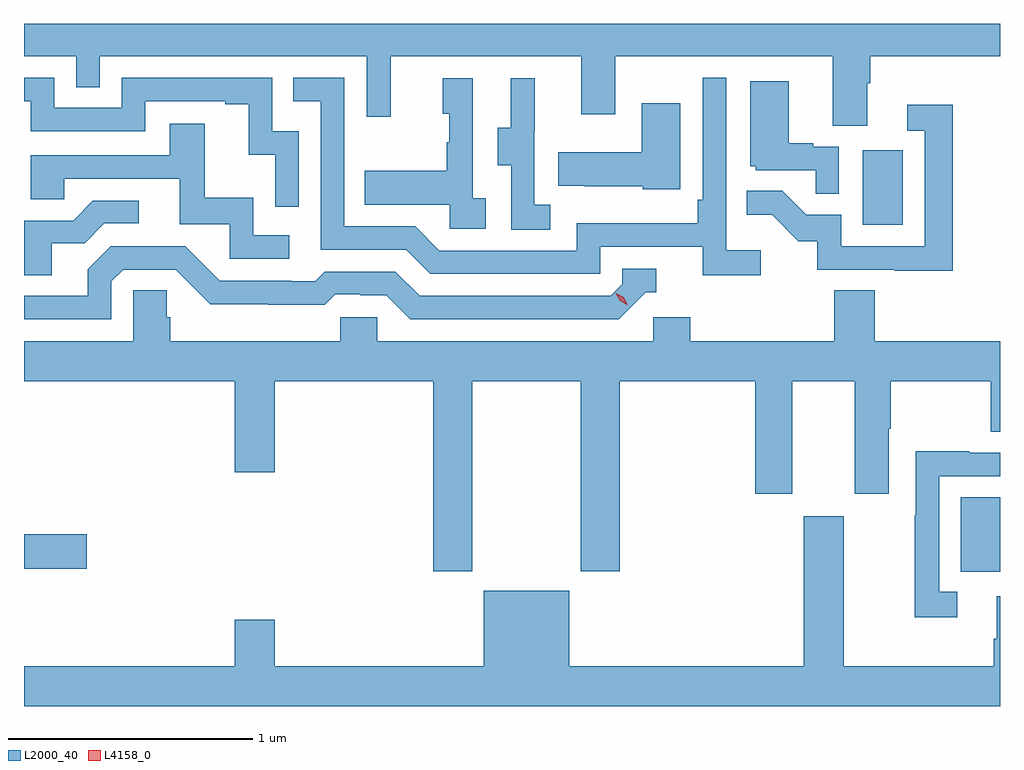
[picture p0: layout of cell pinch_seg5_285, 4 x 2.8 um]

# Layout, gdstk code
import gdstk
lib = gdstk.Library(unit=1e-6, precision=1e-09)
def R(c, l, rs):  # rectangles x0, y0, x1, y1
    for r in rs: c.add(gdstk.rectangle(r[:2], r[2:], *l))
def P(c, l, *ps):  # polygons
    for p in ps: c.add(gdstk.Polygon(p, *l))
L2000_40 = (2000, 40)
L4158_0 = (4158, 0)

pinch_seg5_285 = lib.new_cell('pinch_seg5_285')
R(pinch_seg5_285, L2000_40, [(947.204,913.254,947.364,913.561), (943.364,913.267,943.621,913.409), (946.802,914.676,946.966,914.983)])
P(pinch_seg5_285, L2000_40, [(946.819,915.256),(946.832,915.256),(946.832,915.368),(947.364,915.368),(947.364,915.5),(943.364,915.5),(943.364,915.368),(943.578,915.368),(943.578,915.241),(943.674,915.241),(943.674,915.368),(944.769,915.368),(944.769,915.12),(944.867,915.12),(944.867,915.368),(945.647,915.368),(945.647,915.129),(945.787,915.129),(945.787,915.368),(946.679,915.368),(946.679,915.082),(946.819,915.082)],
  [(946.384,914.572),(946.242,914.572),(946.242,915.28),(946.146,915.28),(946.146,914.779),(946.126,914.779),(946.126,914.683),(945.63,914.683),(945.63,914.571),(945.066,914.571),(944.967,914.67),(944.676,914.67),(944.676,915.279),(944.467,915.279),(944.467,915.183),(944.58,915.183),(944.58,914.574),(944.93,914.574),(945.029,914.475),(945.726,914.475),(945.726,914.586),(946.145,914.586),(946.145,914.47),(946.384,914.47)],
  [(944.49,915.06),(944.382,915.06),(944.382,915.279),(943.764,915.279),(943.764,915.156),(943.488,915.156),(943.488,915.279),(943.364,915.279),(943.364,915.183),(943.392,915.183),(943.392,915.06),(943.86,915.06),(943.86,915.183),(944.189,915.183),(944.189,915.171),(944.285,915.171),(944.285,914.963),(944.394,914.963),(944.394,914.751),(944.49,914.751)],
  [(945.52,914.759),(945.456,914.759),(945.456,915.063),(945.458,915.063),(945.458,915.277),(945.359,915.277),(945.359,915.075),(945.305,915.075),(945.305,914.92),(945.36,914.92),(945.36,914.656),(945.52,914.656)],
  [(945.256,914.786),(945.204,914.786),(945.204,915.277),(945.08,915.277),(945.08,915.132),(945.106,915.132),(945.106,915.014),(945.096,915.014),(945.096,914.899),(944.761,914.899),(944.761,914.759),(945.108,914.759),(945.108,914.661),(945.256,914.661)],
  [(946.704,914.997),(946.598,914.997),(946.598,915.01),(946.498,915.01),(946.498,915.265),(946.34,915.265),(946.34,914.916),(946.362,914.916),(946.362,914.901),(946.609,914.901),(946.609,914.803),(946.704,914.803)],
  [(946.054,915.175),(945.896,915.175),(945.896,914.974),(945.553,914.974),(945.553,914.837),(945.661,914.837),(945.661,914.834),(945.9,914.834),(945.9,914.822),(946.054,914.822)],
  [(947.171,915.169),(946.983,915.169),(946.983,915.063),(947.055,915.063),(947.055,914.589),(946.713,914.589),(946.713,914.718),(946.569,914.718),(946.471,914.816),(946.327,914.816),(946.327,914.717),(946.431,914.717),(946.538,914.61),(946.615,914.61),(946.615,914.493),(946.933,914.493),(946.933,914.488),(947.171,914.488)],
  [(944.452,914.634),(944.304,914.634),(944.304,914.788),(944.105,914.788),(944.105,915.091),(943.961,915.091),(943.961,914.961),(943.392,914.961),(943.392,914.781),(943.529,914.781),(943.529,914.865),(944.003,914.865),(944.003,914.679),(944.208,914.679),(944.208,914.538),(944.452,914.538)],
  [(943.477,914.602),(943.612,914.602),(943.692,914.682),(943.834,914.682),(943.834,914.775),(943.646,914.775),(943.565,914.694),(943.364,914.694),(943.364,914.47),(943.477,914.47)],
  [(943.722,914.445),(943.77,914.493),(943.986,914.493),(944.128,914.351),(944.364,914.351),(944.364,914.349),(944.597,914.349),(944.639,914.391),(944.742,914.391),(944.742,914.388),(944.849,914.388),(944.948,914.289),(945.801,914.289),(945.912,914.4),(945.955,914.4),(945.955,914.496),(945.816,914.496),(945.816,914.433),(945.768,914.385),(944.985,914.385),(944.886,914.484),(944.597,914.484),(944.558,914.445),(944.459,914.445),(944.459,914.448),(944.166,914.448),(944.025,914.589),(943.719,914.589),(943.625,914.495),(943.625,914.385),(943.364,914.385),(943.364,914.289),(943.722,914.289)],
  [(945.201,914.036),(945.646,914.036),(945.646,913.257),(945.806,913.257),(945.806,914.036),(946.361,914.036),(946.361,913.575),(946.513,913.575),(946.513,914.036),(946.769,914.036),(946.769,913.575),(946.909,913.575),(946.909,913.84),(946.917,913.84),(946.917,914.036),(947.326,914.036),(947.326,913.828),(947.364,913.828),(947.364,914.2),(946.85,914.2),(946.85,914.408),(946.685,914.408),(946.685,914.2),(946.094,914.2),(946.094,914.298),(945.942,914.298),(945.942,914.2),(944.811,914.2),(944.811,914.298),(944.661,914.298),(944.661,914.2),(943.964,914.2),(943.964,914.298),(943.949,914.298),(943.949,914.408),(943.812,914.408),(943.812,914.2),(943.364,914.2),(943.364,914.036),(944.228,914.036),(944.228,913.662),(944.392,913.662),(944.392,914.036),(945.041,914.036),(945.041,913.257),(945.201,913.257)],
  [(947.188,913.173),(947.115,913.173),(947.115,913.647),(947.364,913.647),(947.364,913.743),(947.237,913.743),(947.237,913.748),(947.019,913.748),(947.019,913.487),(947.014,913.487),(947.014,913.068),(947.188,913.068)],
  [(947.364,913.154),(947.351,913.154),(947.351,912.98),(947.339,912.98),(947.339,912.868),(946.723,912.868),(946.723,913.483),(946.559,913.483),(946.559,912.868),(945.598,912.868),(945.598,913.177),(945.248,913.177),(945.248,912.868),(944.392,912.868),(944.392,913.057),(944.228,913.057),(944.228,912.868),(943.364,912.868),(943.364,912.704),(947.364,912.704)])
P(pinch_seg5_285, L4158_0, [(945.838,914.346),(945.807,914.365),(945.79,914.397),(945.79,914.397),(945.79,914.397),(945.821,914.379),(945.838,914.347),(945.838,914.346)])

lib.write_gds('pinch_seg5_285.gds')
